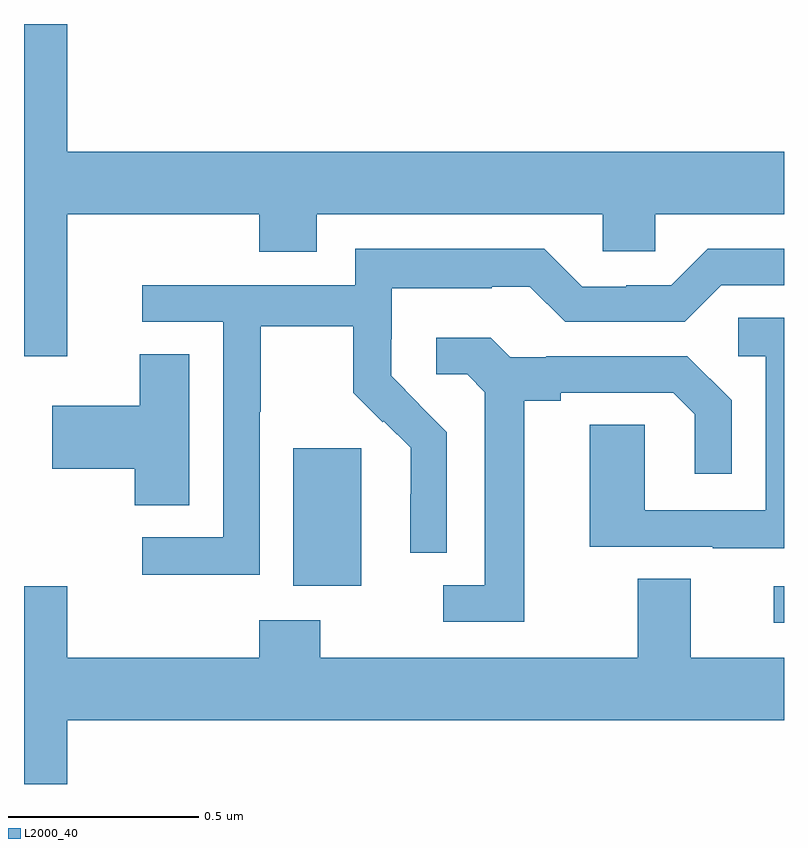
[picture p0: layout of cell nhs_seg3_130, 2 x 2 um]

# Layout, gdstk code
import gdstk
lib = gdstk.Library(unit=1e-6, precision=1e-09)
def R(c, l, rs):  # rectangles x0, y0, x1, y1
    for r in rs: c.add(gdstk.rectangle(r[:2], r[2:], *l))
def P(c, l, *ps):  # polygons
    for p in ps: c.add(gdstk.Polygon(p, *l))
L2000_40 = (2000, 40)

nhs_seg3_130 = lib.new_cell('nhs_seg3_130')
R(nhs_seg3_130, L2000_40, [(113.973,715.824,114,715.92), (112.709,715.922,112.888,716.283)])
P(nhs_seg3_130, L2000_40, [(112.114,716.9),(112.619,716.9),(112.619,716.801),(112.771,716.801),(112.771,716.9),(113.523,716.9),(113.523,716.802),(113.661,716.802),(113.661,716.9),(114,716.9),(114,717.064),(112.114,717.064),(112.114,717.4),(112,717.4),(112,716.526),(112.114,716.526)],
  [(112.62,716.38),(112.623,716.38),(112.623,716.604),(112.867,716.604),(112.867,716.429),(112.944,716.352),(112.947,716.355),(113.018,716.285),(113.018,716.162),(113.016,716.162),(113.016,716.008),(113.112,716.008),(113.112,716.326),(113.039,716.399),(113.04,716.4),(112.966,716.474),(112.966,716.571),(112.968,716.571),(112.968,716.705),(113.231,716.705),(113.231,716.709),(113.331,716.709),(113.424,716.616),(113.739,716.616),(113.835,716.712),(114,716.712),(114,716.808),(113.799,716.808),(113.703,716.712),(113.585,716.712),(113.585,716.709),(113.469,716.709),(113.369,716.809),(112.872,716.809),(112.872,716.712),(112.311,716.712),(112.311,716.616),(112.524,716.616),(112.524,716.049),(112.311,716.049),(112.311,715.951),(112.62,715.951)],
  [(114,716.627),(113.88,716.627),(113.88,716.526),(113.952,716.526),(113.952,716.121),(113.634,716.121),(113.634,716.345),(113.489,716.345),(113.489,716.025),(113.813,716.025),(113.813,716.021),(114,716.021)],
  [(113.317,716.408),(113.413,716.408),(113.413,716.43),(113.708,716.43),(113.765,716.373),(113.765,716.217),(113.862,716.217),(113.862,716.41),(113.746,716.526),(113.374,716.526),(113.374,716.523),(113.28,716.523),(113.228,716.575),(113.085,716.575),(113.085,716.478),(113.166,716.478),(113.213,716.431),(113.213,715.923),(113.103,715.923),(113.103,715.827),(113.317,715.827)],
  [(112.435,716.531),(112.304,716.531),(112.304,716.395),(112.074,716.395),(112.074,716.23),(112.292,716.23),(112.292,716.134),(112.435,716.134)],
  [(112.114,715.568),(114,715.568),(114,715.732),(113.755,715.732),(113.755,715.94),(113.615,715.94),(113.615,715.732),(112.779,715.732),(112.779,715.831),(112.619,715.831),(112.619,715.732),(112.114,715.732),(112.114,715.921),(112,715.921),(112,715.4),(112.114,715.4)])

lib.write_gds('nhs_seg3_130.gds')
